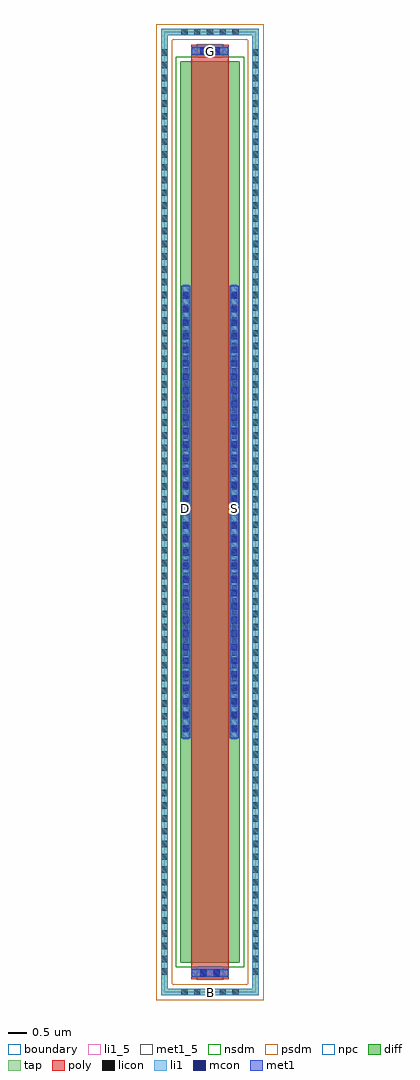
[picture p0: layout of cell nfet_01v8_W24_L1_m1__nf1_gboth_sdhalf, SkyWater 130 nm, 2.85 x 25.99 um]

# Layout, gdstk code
import gdstk
lib = gdstk.Library(unit=1e-6, precision=1e-09)
def R(c, l, rs):  # rectangles x0, y0, x1, y1
    for r in rs: c.add(gdstk.rectangle(r[:2], r[2:], *l))
def A(c, l, x, y, w, h, nx, ny, dx, dy):  # array of equal rectangles
    R(c, l, [(x+i*dx, y+j*dy, x+i*dx+w, y+j*dy+h) for i in range(nx) for j in range(ny)])
diff = (65, 20)
tap = (65, 44)
poly = (66, 20)
licon = (66, 44)
li1_5 = (67, 5)
li1 = (67, 20)
mcon = (67, 44)
met1_5 = (68, 5)
met1 = (68, 20)
nsdm = (93, 44)
psdm = (94, 20)
npc = (95, 20)
boundary = (235, 4)

sky130_fd_pr__nfet_01v8_ = lib.new_cell('sky130_fd_pr__nfet_01v8_FFAKZ9')
R(sky130_fd_pr__nfet_01v8_, diff, [(-0.79,-12,0.79,12)])
R(sky130_fd_pr__nfet_01v8_, tap, [(-1.3,-12.87,1.3,-12.7), (-1.3,-12.7,-1.13,12.7), (1.13,-12.7,1.3,12.7), (-1.3,12.7,1.3,12.87)])
R(sky130_fd_pr__nfet_01v8_, poly, [(-0.5,-12.44,0.5,12.44)])
A(sky130_fd_pr__nfet_01v8_, licon, -0.765, -12.87, 0.17, 0.17, 5, 2, 0.34, 25.57)
A(sky130_fd_pr__nfet_01v8_, licon, -1.3, -12.325, 0.17, 0.17, 1, 73, 0, 0.34)
A(sky130_fd_pr__nfet_01v8_, licon, 1.13, -12.325, 0.17, 0.17, 1, 73, 0, 0.34)
A(sky130_fd_pr__nfet_01v8_, licon, -0.73, -5.865, 0.17, 0.17, 1, 35, 0, 0.34)
A(sky130_fd_pr__nfet_01v8_, licon, 0.56, -5.865, 0.17, 0.17, 1, 35, 0, 0.34)
R(sky130_fd_pr__nfet_01v8_, licon, [(-0.255,-12.36,-0.085,-12.19), (0.085,-12.36,0.255,-12.19), (-0.255,12.19,-0.085,12.36), (0.085,12.19,0.255,12.36)])
R(sky130_fd_pr__nfet_01v8_, li1, [(-1.3,-12.87,1.3,-12.7), (-1.3,-12.7,-1.13,12.7), (1.13,-12.7,1.3,12.7), (-0.5,-12.36,0.5,-12.19), (-0.73,-6.05,-0.56,6.05), (0.56,-6.05,0.73,6.05), (-0.5,12.19,0.5,12.36), (-1.3,12.7,1.3,12.87)])
A(sky130_fd_pr__nfet_01v8_, mcon, -0.73, -5.845, 0.17, 0.17, 1, 33, 0, 0.36)
A(sky130_fd_pr__nfet_01v8_, mcon, 0.56, -5.845, 0.17, 0.17, 1, 33, 0, 0.36)
R(sky130_fd_pr__nfet_01v8_, mcon, [(-0.265,-12.36,-0.095,-12.19), (0.095,-12.36,0.265,-12.19), (-0.265,12.19,-0.095,12.36), (0.095,12.19,0.265,12.36)])
R(sky130_fd_pr__nfet_01v8_, met1, [(-0.48,-12.39,0.48,-12.16), (-0.76,-6.03,-0.53,6.03), (0.53,-6.03,0.76,6.03), (-0.48,12.16,0.48,12.39)])
R(sky130_fd_pr__nfet_01v8_, nsdm, [(-0.915,-12.125,0.915,12.125)])
R(sky130_fd_pr__nfet_01v8_, psdm, [(-1.425,-12.995,1.425,-12.575), (-1.425,-12.575,-1.005,12.575), (1.005,-12.575,1.425,12.575), (-1.425,12.575,1.425,12.995)])
R(sky130_fd_pr__nfet_01v8_, npc, [(-0.355,-12.46,0.355,-12.09), (-0.355,12.09,0.355,12.46)])
R(sky130_fd_pr__nfet_01v8_, boundary, [(-1.215,-12.785,1.215,12.785)])
sky130_fd_pr__nfet_01v8_.add(gdstk.Label('B', (0,-12.785), layer=67, texttype=5))
sky130_fd_pr__nfet_01v8_.add(gdstk.Label('D', (-0.645,0), layer=67, texttype=5))
sky130_fd_pr__nfet_01v8_.add(gdstk.Label('S', (0.645,0), layer=67, texttype=5))
sky130_fd_pr__nfet_01v8_.add(gdstk.Label('G', (0,12.275), layer=67, texttype=5))

nfet_01v8_w24_l1_m1__nf1 = lib.new_cell('nfet_01v8_W24_L1_m1__nf1_gboth_sdhalf')
R(nfet_01v8_w24_l1_m1__nf1, li1_5, [(1.13,-0.085,1.3,0.085)])
R(nfet_01v8_w24_l1_m1__nf1, li1, [(1.13,-0.085,1.3,0.085)])
R(nfet_01v8_w24_l1_m1__nf1, met1_5, [(0.455,12.785,0.685,12.985), (1.745,12.785,1.975,12.985), (0.735,24.945,1.695,25.175)])
R(nfet_01v8_w24_l1_m1__nf1, met1, [(0.455,12.785,0.685,12.985), (1.745,12.785,1.975,12.985), (0.735,24.945,1.695,25.175)])
nfet_01v8_w24_l1_m1__nf1.add(gdstk.Reference(sky130_fd_pr__nfet_01v8_, (1.215,12.785)))
nfet_01v8_w24_l1_m1__nf1.add(gdstk.Label('D', (0.57,12.885), layer=68, texttype=5))
nfet_01v8_w24_l1_m1__nf1.add(gdstk.Label('S', (1.86,12.885), layer=68, texttype=5))
nfet_01v8_w24_l1_m1__nf1.add(gdstk.Label('G', (1.215,25.06), layer=68, texttype=5))
nfet_01v8_w24_l1_m1__nf1.add(gdstk.Label('B', (1.215,0), layer=67, texttype=5))

lib.write_gds('nfet_01v8_W24_L1_m1__nf1_gboth_sdhalf.gds')
